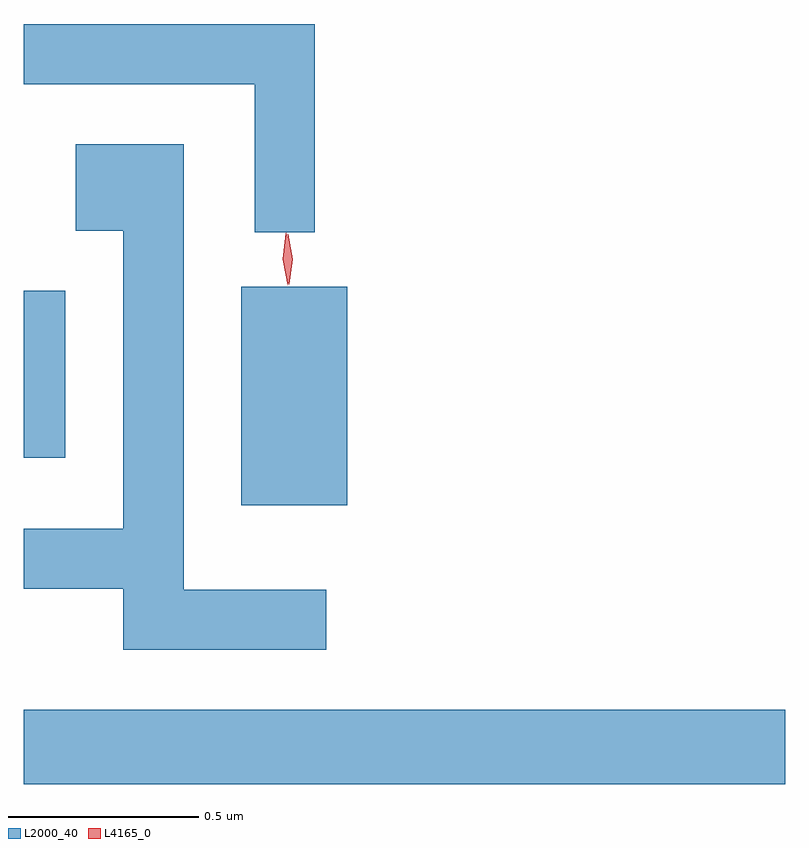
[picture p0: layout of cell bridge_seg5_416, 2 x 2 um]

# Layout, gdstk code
import gdstk
lib = gdstk.Library(unit=1e-6, precision=1e-09)
def R(c, l, rs):  # rectangles x0, y0, x1, y1
    for r in rs: c.add(gdstk.rectangle(r[:2], r[2:], *l))
def P(c, l, *ps):  # polygons
    for p in ps: c.add(gdstk.Polygon(p, *l))
L2000_40 = (2000, 40)
L4165_0 = (4165, 0)

bridge_seg5_416 = lib.new_cell('bridge_seg5_416')
R(bridge_seg5_416, L2000_40, [(546.164,1485.729,548.164,1485.924), (546.736,1486.461,547.014,1487.034), (546.164,1486.586,546.274,1487.024)])
P(bridge_seg5_416, L2000_40, [(546.929,1487.724),(546.164,1487.724),(546.164,1487.566),(546.771,1487.566),(546.771,1487.178),(546.929,1487.178)],
  [(546.958,1486.239),(546.584,1486.239),(546.584,1487.409),(546.301,1487.409),(546.301,1487.181),(546.426,1487.181),(546.426,1486.399),(546.164,1486.399),(546.164,1486.241),(546.426,1486.241),(546.426,1486.081),(546.958,1486.081)])
P(bridge_seg5_416, L4165_0, [(546.857,1487.038),(546.857,1487.038),(546.845,1487.106),(546.852,1487.175),(546.853,1487.176),(546.854,1487.175),(546.865,1487.107),(546.858,1487.038)],
  [(546.86,1487.041),(546.85,1487.106),(546.858,1487.172),(546.858,1487.172),(546.859,1487.172),(546.87,1487.107),(546.861,1487.041),(546.861,1487.041)])

lib.write_gds('bridge_seg5_416.gds')
